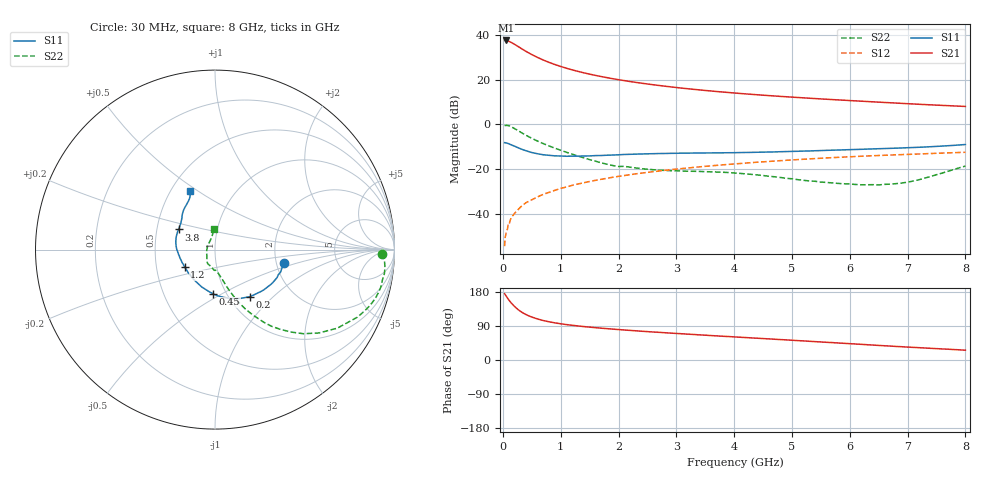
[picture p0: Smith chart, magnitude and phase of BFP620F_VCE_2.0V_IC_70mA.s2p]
! Infineon Technologies  Discrete & RF Semiconductors
! BFP620F
! VCE =  2.0 V,  IC =  70 mA
! Common Emitter S-Parameters:  Dec 2014
# GHz  S  MA  R  50
!  f  S11  S21  S12  S22
! GHz  MAG  ANG  MAG  ANG  MAG  ANG  MAG  ANG
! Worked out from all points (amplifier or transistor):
!   95 points, 30 MHz to 8 GHz, reference 50 ohm
!   highest |S21| = 37.5 dB at 50 MHz (marker M1)
!   |S21| within 3 dB of that: start of sweep to 281.5 MHz
!   unconditionally stable (mu >= 1): 1.65 GHz to end of sweep
!   at 300 MHz: K = 0.56, MSG = 35.7 dB, |S12| = -37.1 dB
!   at 3.3 GHz: K = 1.04, MAG = 16.3 dB, |S12| = -19.2 dB
!   at 8 GHz: K = 1.05, MAG = 8.8 dB, |S12| = -12.5 dB
!   S11 on the Smith chart (normalised r, x): 30 MHz: 2.20, -0.39; 200 MHz: 1.25, -0.73; 450 MHz: 0.87, -0.45; 1.2 GHz: 0.70, -0.14; 3.8 GHz: 0.65, +0.15; 8 GHz: 0.62, +0.47
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0.03  0.3914 -11.1  75.15 174.9  0.0019 108.5  0.9329 -1.4
0.05  0.3865 -16.1  75.29 170.2  0.0034 96.7  0.9521 -6.0
0.08  0.3793 -24.2  74.06 163.4  0.0046 87.7  0.9478 -12.5
0.12  0.3601 -34.9  70.44 155.1  0.0067 81.5  0.9147 -20.3
0.15  0.3473 -42.0  67.51 149.6  0.0084 80.4  0.8779 -25.4
0.2  0.3273 -53.1  61.9 141.5  0.0102 74.6  0.8102 -32.7
0.25  0.3062 -62.8  56.53 134.6  0.012 73.4  0.7426 -38.7
0.3  0.2878 -71.2  51.49 128.8  0.014 74.6  0.6797 -43.6
0.35  0.2711 -79.4  46.91 124.0  0.0159 72.9  0.6223 -47.5
0.45  0.2463 -92.6  39.49 116.4  0.0192 73.3  0.5292 -53.7
0.6  0.2209 -109.6  31.37 108.2  0.024 72.3  0.4239 -59.8
0.7  0.2096 -118.4  27.46 104.1  0.0275 72.5  0.3723 -62.9
0.9  0.1983 -133.4  21.81 98.0  0.0337 72.2  0.2943 -67.4
1.2  0.1953 -150.3  16.56 91.6  0.0435 71.7  0.2167 -72.4
1.4  0.1973 -159.0  14.24 88.2  0.0498 70.9  0.1791 -75.4
1.9  0.2068 -175.2  10.52 81.5  0.0659 68.8  0.1206 -85.6
2.7  0.2235 167.9  7.425 73.0  0.0907 64.1  0.0951 -105.2
3.8  0.2321 151.1  5.3 62.7  0.1248 57.4  0.0853 -119.6
4.1  0.2349 147.4  4.924 60.1  0.1336 55.4  0.0804 -122.6
5.4  0.258 135.5  3.784 48.5  0.1725 46.5  0.0536 -149.5
6.7  0.2918 124.3  3.048 36.8  0.2066 37.0  0.0463 148.0
8  0.3555 112.6  2.522 25.9  0.2383 27.9  0.1173 92.0
